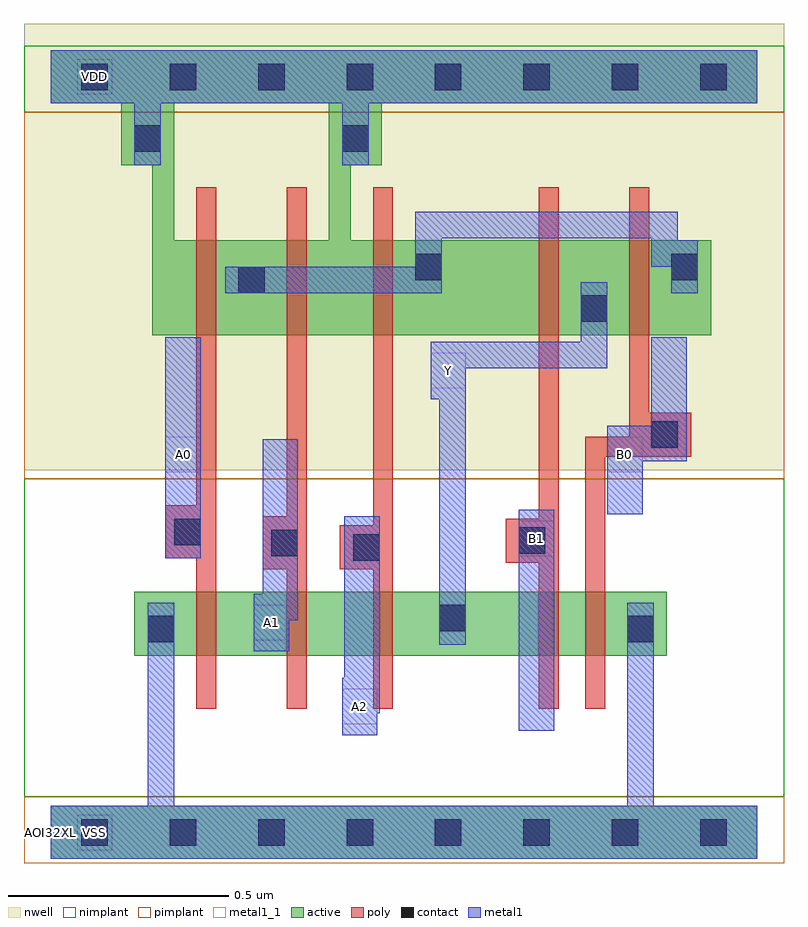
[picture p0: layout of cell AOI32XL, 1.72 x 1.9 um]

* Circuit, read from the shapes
.subckt AOI32XL A0 A1 A2 B0 B1 VDD VSS Y
M1 n1 A0 VSS VSS nfet w=0.145u l=0.045u
M2 n2 A1 n1 VSS nfet w=0.145u l=0.045u
M3 Y A2 n2 VSS nfet w=0.145u l=0.045u
M4 n3 B1 Y VSS nfet w=0.145u l=0.045u
M5 VSS B0 n3 VSS nfet w=0.145u l=0.045u
M6 n4 A0 VDD VDD pfet w=0.215u l=0.045u
M7 VDD A1 n4 VDD pfet w=0.215u l=0.045u
M8 n4 A2 VDD VDD pfet w=0.215u l=0.045u
M9 Y B1 n4 VDD pfet w=0.215u l=0.045u
M10 n4 B0 Y VDD pfet w=0.215u l=0.045u
.ends

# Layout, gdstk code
import gdstk
lib = gdstk.Library(unit=1e-6, precision=5e-10)
def R(c, l, rs):  # rectangles x0, y0, x1, y1
    for r in rs: c.add(gdstk.rectangle(r[:2], r[2:], *l))
def A(c, l, x, y, w, h, nx, ny, dx, dy):  # array of equal rectangles
    R(c, l, [(x+i*dx, y+j*dy, x+i*dx+w, y+j*dy+h) for i in range(nx) for j in range(ny)])
def P(c, l, *ps):  # polygons
    for p in ps: c.add(gdstk.Polygon(p, *l))
active = (1, 0)
nwell = (2, 0)
poly = (3, 0)
nimplant = (4, 0)
pimplant = (5, 0)
contact = (6, 0)
metal1 = (7, 0)
metal1_1 = (7, 1)

aoi32xl = lib.new_cell('AOI32XL')
R(aoi32xl, active, [(0,-0.06,1.6,0.06), (0.19,0.4,1.395,0.545)])
P(aoi32xl, active, [(0,1.77),(1.6,1.77),(1.6,1.65),(0.75,1.65),(0.75,1.51),(0.68,1.51),(0.68,1.34),(1.495,1.34),(1.495,1.125),(0.23,1.125),(0.23,1.51),(0.16,1.51),(0.16,1.65),(0.28,1.65),(0.28,1.34),(0.63,1.34),(0.63,1.65),(0,1.65)])
R(aoi32xl, nwell, [(-0.06,0.82,1.66,1.83)])
P(aoi32xl, poly, [(0.33,1.46),(0.375,1.46),(0.375,0.28),(0.33,0.28),(0.33,0.62),(0.26,0.62),(0.26,0.74),(0.33,0.74)],
  [(0.535,1.46),(0.58,1.46),(0.58,0.28),(0.535,0.28),(0.535,0.595),(0.48,0.595),(0.48,0.715),(0.535,0.715)],
  [(0.73,1.46),(0.775,1.46),(0.775,0.28),(0.73,0.28),(0.73,0.595),(0.655,0.595),(0.655,0.695),(0.73,0.695)],
  [(1.105,1.46),(1.15,1.46),(1.15,0.28),(1.105,0.28),(1.105,0.61),(1.03,0.61),(1.03,0.71),(1.105,0.71)],
  [(1.31,1.46),(1.355,1.46),(1.355,0.95),(1.45,0.95),(1.45,0.85),(1.255,0.85),(1.255,0.28),(1.21,0.28),(1.21,0.895),(1.31,0.895)])
R(aoi32xl, nimplant, [(-0.06,0.08,1.66,0.8), (-0.06,1.63,1.66,1.78)])
R(aoi32xl, pimplant, [(-0.06,-0.07,1.66,0.08), (-0.06,0.8,1.66,1.63)])
A(aoi32xl, contact, 0.07, -0.03, 0.06, 0.06, 8, 2, 0.2, 1.71)
R(aoi32xl, contact, [(0.22,0.43,0.28,0.49), (1.305,0.43,1.365,0.49), (0.88,0.455,0.94,0.515), (0.685,0.615,0.745,0.675), (0.5,0.625,0.56,0.685), (1.06,0.63,1.12,0.69), (0.28,0.65,0.34,0.71), (1.36,0.87,1.42,0.93), (1.2,1.155,1.26,1.215), (0.425,1.22,0.485,1.28), (0.825,1.25,0.885,1.31), (1.405,1.25,1.465,1.31), (0.19,1.54,0.25,1.6), (0.66,1.54,0.72,1.6)])
R(aoi32xl, metal1, [(1.06,0.23,1.14,0.73), (0.26,0.62,0.34,1.12)])
P(aoi32xl, metal1, [(0,1.77),(1.6,1.77),(1.6,1.65),(0.72,1.65),(0.72,1.51),(0.66,1.51),(0.66,1.65),(0.25,1.65),(0.25,1.51),(0.19,1.51),(0.19,1.65),(0,1.65)],
  [(0.825,1.405),(1.42,1.405),(1.42,1.34),(1.465,1.34),(1.465,1.22),(1.405,1.22),(1.405,1.28),(1.36,1.28),(1.36,1.345),(0.885,1.345),(0.885,1.22),(0.395,1.22),(0.395,1.28),(0.825,1.28)],
  [(1.2,1.245),(1.26,1.245),(1.26,1.05),(0.94,1.05),(0.94,0.425),(0.88,0.425),(0.88,0.98),(0.86,0.98),(0.86,1.11),(1.2,1.11)],
  [(1.36,1.12),(1.44,1.12),(1.44,0.84),(1.34,0.84),(1.34,0.72),(1.26,0.72),(1.26,0.92),(1.36,0.92)],
  [(0.48,0.89),(0.56,0.89),(0.56,0.48),(0.54,0.48),(0.54,0.41),(0.46,0.41),(0.46,0.54),(0.48,0.54)],
  [(0.665,0.715),(0.745,0.715),(0.745,0.27),(0.74,0.27),(0.74,0.22),(0.66,0.22),(0.66,0.35),(0.665,0.35)],
  [(0.22,0.52),(0.28,0.52),(0.28,0.06),(1.305,0.06),(1.305,0.52),(1.365,0.52),(1.365,0.06),(1.6,0.06),(1.6,-0.06),(0,-0.06),(0,0.06),(0.22,0.06)])
R(aoi32xl, metal1_1, [(0.06,-0.04,0.14,0.04), (0.66,0.245,0.74,0.325), (0.46,0.435,0.54,0.515), (1.06,0.625,1.14,0.705), (0.26,0.815,0.34,0.895), (1.26,0.815,1.34,0.895), (0.86,1.005,0.94,1.085), (0.06,1.67,0.14,1.75)])
aoi32xl.add(gdstk.Label('Y', (0.9,1.045), layer=7, texttype=1))
aoi32xl.add(gdstk.Label('A1', (0.5,0.475), layer=7, texttype=1))
aoi32xl.add(gdstk.Label('B1', (1.1,0.665), layer=7, texttype=1))
aoi32xl.add(gdstk.Label('A2', (0.7,0.285), layer=7, texttype=1))
aoi32xl.add(gdstk.Label('B0', (1.3,0.855), layer=7, texttype=1))
aoi32xl.add(gdstk.Label('A0', (0.3,0.855), layer=7, texttype=1))
aoi32xl.add(gdstk.Label('VDD', (0.1,1.71), layer=7, texttype=1))
aoi32xl.add(gdstk.Label('VSS', (0.1,0), layer=7, texttype=1))
aoi32xl.add(gdstk.Label('AOI32XL', (0,0), layer=63, texttype=0))

lib.write_gds('AOI32XL.gds')
